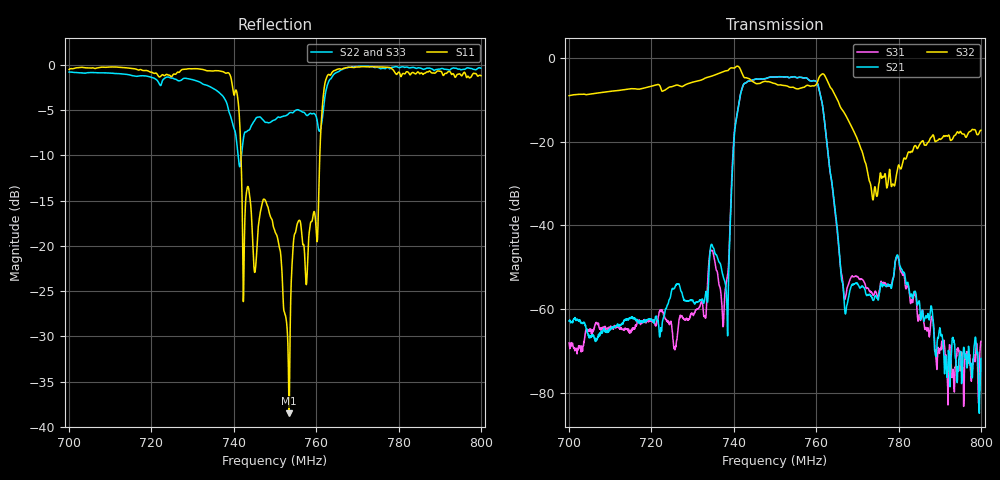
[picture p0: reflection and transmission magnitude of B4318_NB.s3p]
! Matrix data file written by TouchstoneData, EPCOS AG
! FILENAME: "B4318_x14y14_NB.snp"
! COMMENT: "(TS/B4318_x14y14_NB.s3p) Epcos AG 12/21/2012"
! INFO: nport=3, nfreq=1601
! DATE: "Mon Jan 14 15:54:31 2013"
! USER: "Wee Chuan Tay"
! port | pin | signal
!  1  |  1  |  Input
!  2  |  3  |  Output
!  3  |  4  |  Output
# MHZ S RI R 50
! freq  reS11 imS11  reS12 imS12  reS13 imS13  ...
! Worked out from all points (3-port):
!   1601 points, 700 MHz to 800 MHz, reference 50 ohm
!   strongest paths, dB at 700 MHz, 725 MHz, 750 MHz, 775 MHz, 800 MHz:
!     S32: -9.0, -6.8, -6.1, -31.7, -17.2
!     S21: -62.8, -55.1, -4.5, -57.8, -71.8
!     S31: -68.1, -64.8, -4.5, -57.2, -67.7
!   lowest |S11| = -38.5 dB at 753.4 MHz (marker M1), VSWR 1.02, Z = 50.8 + j0.885 ohm
!   |S11| at or under -10 dB: 741.7 MHz to 760.9 MHz (19.14 MHz wide, 2.55 % of centre)
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700  0.1101 -0.9385  -0.000571 -0.000443  -0.000394 -1.63e-05
     -0.000571 -0.000443  0.7218 -0.5606  0.229 0.2736
     -0.000394 -1.63e-05  0.229 0.2736  0.7195 -0.5615
737.4375  -0.8763 -0.2733  -0.00241 -0.000325  0.000274 0.000555
          -0.00241 -0.000325  0.3042 -0.5952  0.629 0.282
          0.000274 0.000555  0.629 0.282  0.3046 -0.5949
741.6875  0.0152 0.3431  -0.3753 -0.0774  0.3766 0.0798
          -0.3753 -0.0774  0.2381 -0.1666  0.7094 -0.1159
          0.3766 0.0798  0.7094 -0.1159  0.2392 -0.1661
745.875  0.00248 -0.1231  0.5622 0.00504  -0.5601 -0.00112
         0.5622 0.00504  0.4559 -0.2406  0.4937 -0.0532
         -0.5601 -0.00112  0.4937 -0.0532  0.4535 -0.2459
750  0.0549 0.1069  -0.2619 -0.5342  0.2611 0.5341
     -0.2619 -0.5342  0.4651 -0.1771  0.4828 -0.1227
     0.2611 0.5341  0.4828 -0.1227  0.4654 -0.1761
753.4375  0.00808 0.00871  -0.5281 0.2533  0.5261 -0.2517
          -0.5281 0.2533  0.5209 -0.1507  0.4261 -0.15
          0.5261 -0.2517  0.4261 -0.15  0.523 -0.1543
760.8125  -0.1776 0.2201  -0.0995 -0.3885  0.0988 0.3891
          -0.0995 -0.3885  0.4302 0.00303  0.5151 -0.3118
          0.0988 0.3891  0.5151 -0.3118  0.4306 0.00184
767.1875  0.9474 0.1845  -0.00071 -0.000548  0.000831 0.00118
          -0.00071 -0.000548  0.9575 -0.0918  -0.0114 -0.2067
          0.000831 0.00118  -0.0114 -0.2067  0.9559 -0.0938
774.125  0.9276 -0.3076  0.000121 -0.00134  -0.000135 0.00153
         0.000121 -0.00134  0.9231 -0.2941  0.0231 -0.0141
         -0.000135 0.00153  0.0231 -0.0141  0.9208 -0.2971
800  0.6038 -0.631  -2.15e-05 -0.000256  -0.000368 -0.000184
     -2.15e-05 -0.000256  0.8603 -0.4268  0.0828 0.1098
     -0.000368 -0.000184  0.0828 0.1098  0.858 -0.4282
